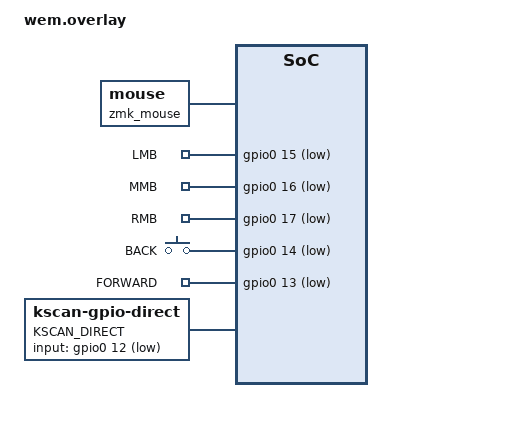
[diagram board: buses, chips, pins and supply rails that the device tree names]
/ {
    zmk_mouse {
        compatible = "zmk,mouse";

        buttons {
            compatible = "zmk,mouse-buttons";

            lmb {
                gpios = <&gpio0 15 GPIO_ACTIVE_LOW>;
                button = <1>;
                label = "LMB";
            };

            mmb {
                gpios = <&gpio0 16 GPIO_ACTIVE_LOW>;
                button = <3>;
                label = "MMB";
            };

            rmb {
                gpios = <&gpio0 17 GPIO_ACTIVE_LOW>;
                button = <2>;
                label = "RMB";
            };

            back {
                gpios = <&gpio0 14 GPIO_ACTIVE_LOW>;
                button = <4>;
                label = "BACK";
            };

            forward {
                gpios = <&gpio0 13 GPIO_ACTIVE_LOW>;
                button = <5>;
                label = "FORWARD";
            };
        };
    };

    kscan0: kscan {
        compatible = "zmk,kscan-gpio-direct";
        label = "KSCAN_DIRECT";

        input-gpios = <
            &gpio0 12 GPIO_ACTIVE_LOW
        >;
    };

    keymap {
        compatible = "zmk,keymap";

        default_layer {
            bindings = <
                &kp F13
            >;
        };
    };
};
